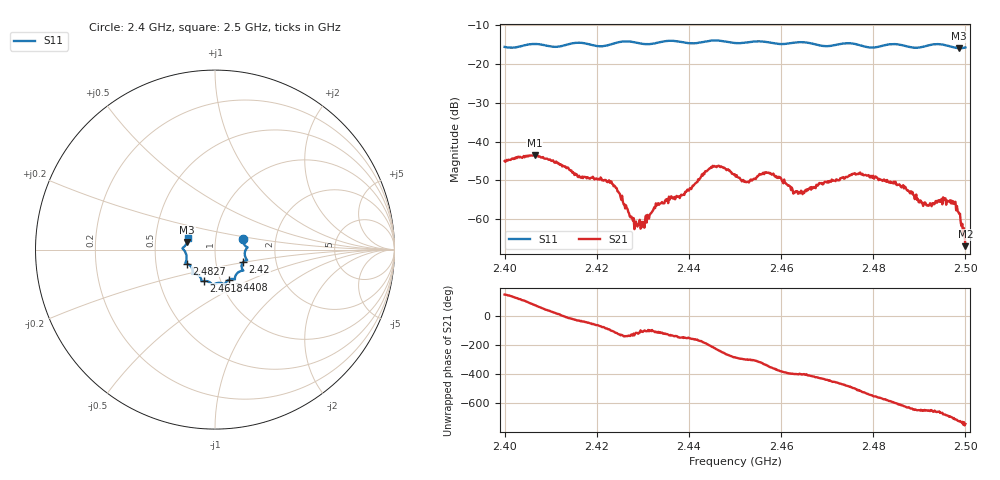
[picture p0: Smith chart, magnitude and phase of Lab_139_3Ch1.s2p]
# Hz S RI R 50
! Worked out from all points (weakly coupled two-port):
!   601 points, 2.4 GHz to 2.5 GHz, reference 50 ohm
!   highest |S21| = -43.51 dB at 2.4065 GHz (marker M1); lowest = -67.0 dB at 2.5 GHz (marker M2)
!   lowest |S11| = -15.9 dB at 2.4987 GHz (marker M3), VSWR 1.38, Z = 36.5 + j3.23 ohm
!   |S11| at or under -10 dB: start of sweep to end of sweep
!   S12 and S22 are empty: the file has one direction only
!   S11 on the Smith chart (normalised r, x): 2.4 GHz: 1.35, +0.17; 2.42 GHz: 1.36, -0.19; 2.4408 GHz: 1.10, -0.38; 2.4618 GHz: 0.83, -0.30; 2.4827 GHz: 0.72, -0.12; 2.5 GHz: 0.73, +0.09
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2.4e9  0.1548 0.0617  -0.00483 0.00289  0 0  0 0
2.4065e9  0.1817 0.0122  0.00158 0.00649  0 0  0 0
2.416667e9  0.1787 -0.0587  0.00289 -0.00185  0 0  0 0
2.42e9  0.1567 -0.069  0.0016 -0.00293  0 0  0 0
2.4235e9  0.1503 -0.1043  -0.00072 -0.00273  0 0  0 0
2.428667e9  0.1474 -0.1181  -0.000366 -0.000766  0 0  0 0
2.43e9  0.1344 -0.1235  -0.000258 -0.000764  0 0  0 0
2.433333e9  0.1117 -0.1531  -0.000482 -0.00153  0 0  0 0
2.440833e9  0.0775 -0.1682  -0.00248 -0.00109  0 0  0 0
2.445333e9  0.0536 -0.1944  -0.00387 0.00282  0 0  0 0
2.45e9  0.027 -0.185  0.000844 0.00367  0 0  0 0
2.4525e9  0.00207 -0.1901  0.00148 0.00261  0 0  0 0
2.457167e9  -0.0185 -0.1906  0.0038 0.00111  0 0  0 0
2.461833e9  -0.0614 -0.175  0.0022 -0.00152  0 0  0 0
2.466667e9  -0.0761 -0.168  0.00153 -0.0021  0 0  0 0
2.476e9  -0.1255 -0.1317  -0.00295 -0.00259  0 0  0 0
2.482667e9  -0.1582 -0.0777  -0.00264 0.00172  0 0  0 0
2.483333e9  -0.162 -0.0766  -0.00214 0.00209  0 0  0 0
2.491333e9  -0.1704 -0.0061  0.000598 0.00152  0 0  0 0
2.497333e9  -0.1633 0.0259  0.00165 0.000429  0 0  0 0
2.498667e9  -0.1547 0.0431  0.00117 -0.000102  0 0  0 0
2.5e9  -0.1513 0.063  0.000413 -0.000173  0 0  0 0
